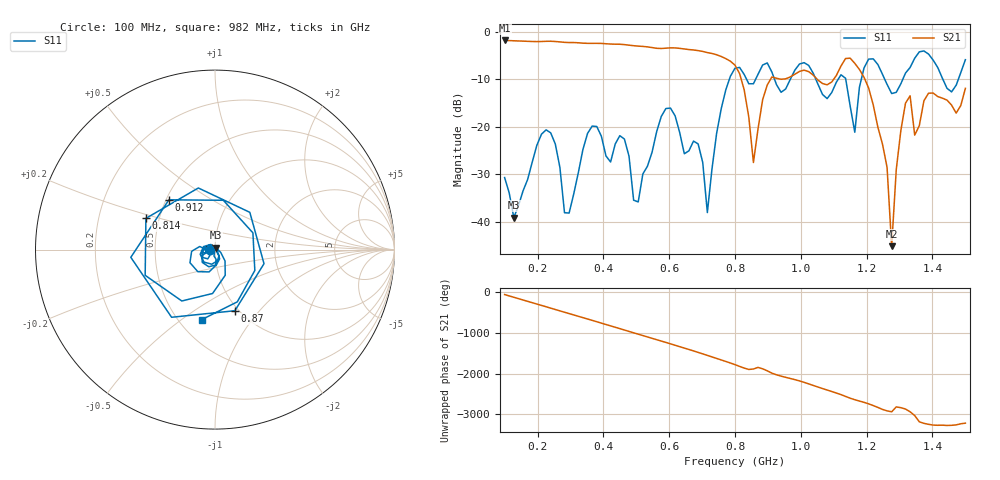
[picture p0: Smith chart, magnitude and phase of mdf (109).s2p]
! NanoVNA-App
! Date: 2025-09-25 17:41:49
! Start: 100MHz Stop: 1,5GHz Points: 101
! S-Parameter data: F S11 S21 S12 S22
# Hz S RI R 50
!  Frequency  S11_Real  S11_Imag  S21_Real  S21_Imag  S12_Real  S12_Imag  S22_Real  S22_Imag
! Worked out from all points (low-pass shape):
!   101 points, 100 MHz to 1.5 GHz, reference 50 ohm
!   highest |S21| = -1.80 dB at 100 MHz (marker M1); lowest = -45.2 dB at 1.276 GHz (marker M2)
!   |S21| within 3 dB of the highest: start of sweep to 743.5 MHz
!   lowest |S11| = -39.1 dB at 128 MHz (marker M3), VSWR 1.02, Z = 50.3 + j1.06 ohm
!   |S11| at or under -10 dB: start of sweep to 782.8 MHz; 1.046 GHz to 1.113 GHz (67.7 MHz wide, 6.27 % of centre); 1.255 GHz to 1.31 GHz (54.68 MHz wide, 4.26 % of centre) (the widest 3 of 7)
!   S12 and S22 are empty: the file has one direction only
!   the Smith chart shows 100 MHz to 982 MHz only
!   S11 on the Smith chart (normalised r, x): 100 MHz: 0.94, -0.01; 814 MHz: 0.42, +0.18; 870 MHz: 0.96, -0.75; 912 MHz: 0.52, +0.33; 982 MHz: 0.65, -0.60
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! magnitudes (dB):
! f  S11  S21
! 100 MHz  -30.7  -1.8
! 128 MHz  -39.1  -1.9
! 212 MHz  -21.6  -2.0
! 282 MHz  -38.1  -2.2
! 338 MHz  -24.8  -2.4
! 464 MHz  -22.6  -2.7
! 506 MHz  -35.8  -3.0
! 576 MHz  -17.8  -3.5
! 688 MHz  -23.6  -3.9
! 716 MHz  -38.1  -4.4
! 800 MHz  -7.6  -7.0
! 814 MHz  -7.5  -8.8
! 870 MHz  -8.9  -20.4
! 912 MHz  -8.4  -9.5
! 982 MHz  -8.0  -8.9
! 1.038 GHz  -8.8  -9.1
! 1.164 GHz  -21.2  -6.6
! 1.192 GHz  -7.6  -9.6
! 1.262 GHz  -11.1  -28.5
! 1.276 GHz  -13.0  -45.2
! 1.318 GHz  -8.7  -15.0
! 1.5 GHz  -5.9  -11.9
